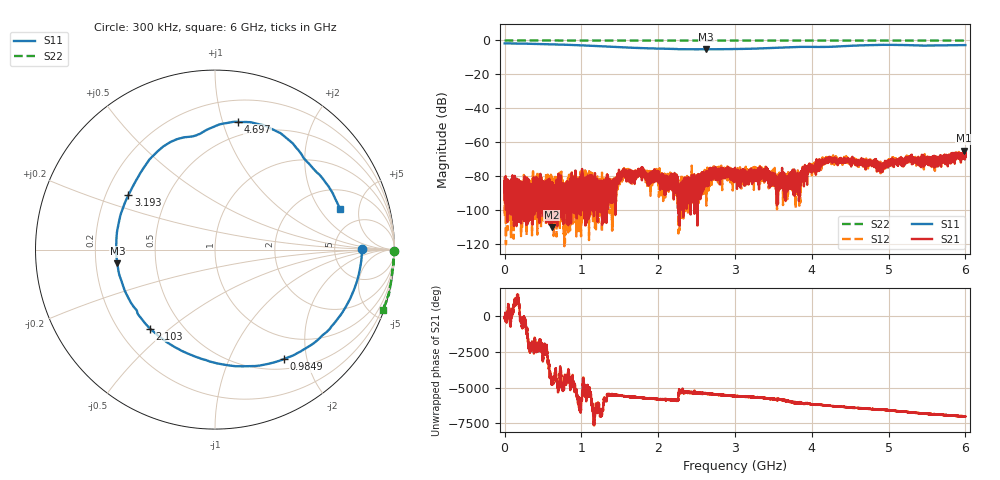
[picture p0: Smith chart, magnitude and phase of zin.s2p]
!  8/10/2020  01:45:52
! Ref Plane: 0.000 mm
# MHZ S MA R  50
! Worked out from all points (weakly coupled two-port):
!   10001 points, 300 kHz to 6 GHz, reference 50 ohm
!   highest |S21| = -65.05 dB at 5.982 GHz (marker M1); lowest = -110.0 dB at 613.5 MHz (marker M2)
!   lowest |S11| = -5.2 dB at 2.625 GHz (marker M3), VSWR 3.44, Z = 14.6 - j3.16 ohm
!   |S11| at or under -10 dB: nowhere
!   |S22| runs from -0.1 to 0.0 dB; largest |S21 - S12| = 0.00024
!   S11 on the Smith chart (normalised r, x): 300 kHz: 10, +0; 984.9 MHz: 0.64, -1.62; 2.103 GHz: 0.33, -0.43; 3.193 GHz: 0.29, +0.26; 4.697 GHz: 0.38, +1.13; 6 GHz: 3.22, +3.13
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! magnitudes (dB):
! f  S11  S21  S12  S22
! 300 kHz  -1.7  -81.1  -88.4  0.0
! 613.5 MHz  -2.2  -110.0  -96.9  0.0
! 984.9 MHz  -2.8  -86.8  -84.4  0.0
! 1 GHz  -2.9  -84.1  -91.1  0.0
! 1.773 GHz  -4.5  -76.0  -77.5  0.0
! 2.001 GHz  -4.8  -81.0  -79.2  0.0
! 2.103 GHz  -4.9  -80.8  -84.4  0.0
! 2.625 GHz  -5.2  -79.0  -77.0  0.0
! 2.902 GHz  -5.1  -76.3  -75.1  0.0
! 3 GHz  -5.0  -79.8  -77.9  0.0
! 3.193 GHz  -4.9  -83.1  -79.2  0.0
! 3.831 GHz  -3.8  -84.6  -85.6  0.0
! 4 GHz  -3.8  -75.9  -72.9  0.0
! 4.214 GHz  -3.8  -72.0  -70.7  0.0
! 4.697 GHz  -2.8  -71.7  -71.5  0.0
! 4.826 GHz  -2.6  -74.0  -73.2  0.0
! 4.903 GHz  -2.6  -76.5  -77.4  0.0
! 5 GHz  -2.6  -72.2  -71.3  0.0
! 5.272 GHz  -2.8  -69.2  -69.4  0.0
! 5.625 GHz  -3.0  -72.0  -72.4  0.0
! 5.982 GHz  -2.7  -65.0  -65.4  -0.1
! 6 GHz  -2.7  -67.2  -68.4  -0.1
